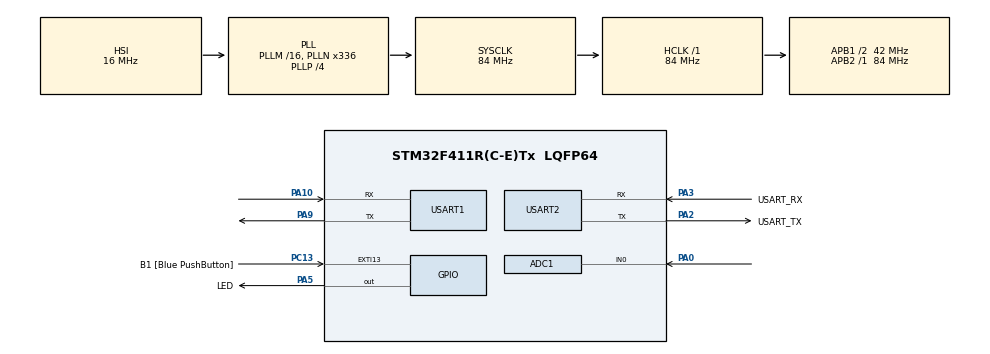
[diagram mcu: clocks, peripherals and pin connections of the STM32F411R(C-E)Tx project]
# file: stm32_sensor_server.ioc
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ADC1.Channel-0\#ChannelRegularConversion=ADC_CHANNEL_0
ADC1.NbrOfConversionFlag=1
ADC1.Rank-0\#ChannelRegularConversion=1
ADC1.SamplingTime-0\#ChannelRegularConversion=ADC_SAMPLETIME_3CYCLES
ADC1.master=1
Mcu.Family=STM32F4
Mcu.Name=STM32F411R(C-E)Tx
Mcu.Package=LQFP64
NVIC.PriorityGroup=NVIC_PRIORITYGROUP_0
NVIC.USART1_IRQn=true\:0\:0\:false\:false\:true\:true\:true\:true
PA0-WKUP.Signal=ADCx_IN0
PA10.Mode=Asynchronous
PA10.Signal=USART1_RX
PA13.GPIO_Label=TMS
PA13.Signal=SYS_JTMS-SWDIO
PA14.GPIO_Label=TCK
PA14.Signal=SYS_JTCK-SWCLK
PA2.GPIO_Label=USART_TX
PA2.Mode=Asynchronous
PA2.Signal=USART2_TX
PA3.GPIO_Label=USART_RX
PA3.Mode=Asynchronous
PA3.Signal=USART2_RX
PA5.GPIO_Label=LED
PA5.Signal=GPIO_Output
PA9.Mode=Asynchronous
PA9.Signal=USART1_TX
PB3.GPIO_Label=SWO
PB3.Signal=SYS_JTDO-SWO
PC13-ANTI_TAMP.GPIO_Label=B1 [Blue PushButton]
PC13-ANTI_TAMP.GPIO_ModeDefaultEXTI=GPIO_MODE_IT_FALLING
PC13-ANTI_TAMP.Signal=GPXTI13
PC14-OSC32_IN.Signal=RCC_OSC32_IN
PC15-OSC32_OUT.Signal=RCC_OSC32_OUT
PH0\ -\ OSC_IN.Signal=RCC_OSC_IN
PH1\ -\ OSC_OUT.Signal=RCC_OSC_OUT
ProjectManager.HeapSize=0x200
ProjectManager.StackSize=0x400
ProjectManager.TargetToolchain=STM32CubeIDE
RCC.48MHZClocksFreq_Value=84000000
RCC.AHBFreq_Value=84000000
RCC.APB1CLKDivider=RCC_HCLK_DIV2
RCC.APB1Freq_Value=42000000
RCC.APB1TimFreq_Value=84000000
RCC.APB2Freq_Value=84000000
RCC.APB2TimFreq_Value=84000000
RCC.CortexFreq_Value=84000000
RCC.FLatency-AdvancedSettings=FLASH_LATENCY_2
RCC.HCLKFreq_Value=84000000
RCC.HSE_VALUE=8000000
RCC.HSI_VALUE=16000000
RCC.LSE_VALUE=32768
RCC.PLLN=336
RCC.PLLP=RCC_PLLP_DIV4
RCC.SYSCLKFreq_VALUE=84000000
RCC.SYSCLKSource=RCC_SYSCLKSOURCE_PLLCLK
RCC.VCOOutputFreq_Value=336000000
SH.ADCx_IN0.0=ADC1_IN0,IN0
USART1.VirtualMode=VM_ASYNC
USART2.VirtualMode=VM_ASYNC
board=NUCLEO-F411RE

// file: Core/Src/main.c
/* USER CODE BEGIN Header */
/**
  ******************************************************************************
  * @file           : main.c
  * @brief          : Main program body
  ******************************************************************************
  */
/* USER CODE END Header */
#include "main.h"
#include "adc.h"
#include "usart.h"
#include "gpio.h"

/* USER CODE BEGIN Includes */
#include <string.h>
#include <stdio.h>
#include "secrets.h"
/* USER CODE END Includes */

/* USER CODE BEGIN PTD */
typedef enum {
  ST_INIT = 0,
  ST_NORMAL,
  ST_WARNING,
  ST_INTERLOCK,
  ST_COMM_ERROR
} SysState;
/* USER CODE END PTD */

/* USER CODE BEGIN PD */
#define WIFI_SSID        SECRET_WIFI_SSID
#define WIFI_PW          SECRET_WIFI_PW
#define SERVER_IP        SECRET_SERVER_IP
#define SERVER_PORT      "5000"

#define SEND_INTERVAL_MS 5000
#define ADC_SAMPLE_MS    200
#define FAIL_LIMIT       3

#define ADC_WARN_ON      2000   /* NORMAL    -> WARNING   */
#define ADC_WARN_OFF     1900   /* WARNING   -> NORMAL    */
#define ADC_INTER_ON     3000   /* WARNING   -> INTERLOCK */
#define ADC_INTER_OFF    2800   /* INTERLOCK -> WARNING   */
/* USER CODE END PD */

/* USER CODE BEGIN PV */
uint8_t esp_rx_data;
volatile uint8_t esp_ring[256];
volatile uint16_t rx_head = 0;
volatile uint16_t rx_tail = 0;

char esp_resp[512];
uint16_t esp_resp_len = 0;

char http_req[256];
char cmd_buf[64];

uint32_t led_tick  = 0;
uint32_t send_tick = 0;
uint32_t adc_tick  = 0;
uint8_t  fail_count = 0;

SysState level_state = ST_INIT;   /* ADC로 판정한 상태 */
SysState sys_state   = ST_INIT;   /* 최종 표시 상태 */
uint8_t  comm_error  = 0;
uint16_t last_adc    = 0;
/* USER CODE END PV */

void SystemClock_Config(void);
/* USER CODE BEGIN PFP */
void pc_log(const char *msg);
void esp_send(const char *msg);
int esp_cmd(const char *cmd, uint32_t timeout_ms);
int esp_wait_for(const char *token, uint32_t timeout_ms);
int esp_wait_keep(const char *token, uint32_t timeout_ms);
int esp_send_data(const char *data, uint32_t timeout_ms);
uint16_t adc_read(void);
const char *state_name(SysState s);
SysState next_level(SysState cur, uint16_t adc);
void refresh_state(void);
uint32_t led_period_ms(SysState s);
void wifi_connect(void);
int wifi_is_connected(void);
int open_tcp(void);
int send_sensor(uint16_t value, const char *state);
/* USER CODE END PFP */

/* USER CODE BEGIN 0 */
void pc_log(const char *msg)
{
  HAL_UART_Transmit(&huart2, (uint8_t *)msg, strlen(msg), HAL_MAX_DELAY);
}

void esp_send(const char *msg)
{
  HAL_UART_Transmit(&huart1, (uint8_t *)msg, strlen(msg), HAL_MAX_DELAY);
}

static void esp_drain(void)
{
  while (rx_tail != rx_head)
  {
    uint8_t c = esp_ring[rx_tail];
    rx_tail = (rx_tail + 1) % sizeof(esp_ring);
    HAL_UART_Transmit(&huart2, &c, 1, HAL_MAX_DELAY);

    if (esp_resp_len < sizeof(esp_resp) - 1)
    {
      esp_resp[esp_resp_len++] = (char)c;
      esp_resp[esp_resp_len] = '\0';
    }
  }
}

int esp_cmd(const char *cmd, uint32_t timeout_ms)
{
  esp_resp_len = 0;
  esp_resp[0] = '\0';
  rx_tail = rx_head;

  pc_log(">> ");
  pc_log(cmd);
  esp_send(cmd);

  uint32_t start = HAL_GetTick();
  while (HAL_GetTick() - start < timeout_ms)
  {
    esp_drain();

    if (strstr(esp_resp, "\r\nOK\r\n")) return 1;
    if (strstr(esp_resp, "ERROR") || strstr(esp_resp, "FAIL")) return 0;
  }
  return -1;
}

/* 버퍼를 지우지 않고 이어서 대기 (이미 도착한 응답을 놓치지 않기 위함) */
int esp_wait_keep(const char *token, uint32_t timeout_ms)
{
  uint32_t start = HAL_GetTick();
  while (HAL_GetTick() - start < timeout_ms)
  {
    esp_drain();

    if (strstr(esp_resp, token)) return 1;
    if (strstr(esp_resp, "ERROR") || strstr(esp_resp, "FAIL")) return 0;
  }
  return -1;
}

int esp_wait_for(const char *token, uint32_t timeout_ms)
{
  esp_resp_len = 0;
  esp_resp[0] = '\0';
  return esp_wait_keep(token, timeout_ms);
}

int esp_send_data(const char *data, uint32_t timeout_ms)
{
  rx_tail = rx_head;
  esp_resp_len = 0;
  esp_resp[0] = '\0';

  esp_send(data);
  return esp_wait_for("SEND OK", timeout_ms);
}

uint16_t adc_read(void)
{
  uint32_t v = 0;

  HAL_ADC_Start(&hadc1);
  if (HAL_ADC_PollForConversion(&hadc1, 100) == HAL_OK)
  {
    v = HAL_ADC_GetValue(&hadc1);
  }
  HAL_ADC_Stop(&hadc1);

  return (uint16_t)v;
}

const char *state_name(SysState s)
{
  switch (s)
  {
    case ST_INIT:       return "INIT";
    case ST_NORMAL:     return "NORMAL";
    case ST_WARNING:    return "WARNING";
    case ST_INTERLOCK:  return "INTERLOCK";
    case ST_COMM_ERROR: return "COMM_ERROR";
    default:            return "INIT";
  }
}

/* 히스테리시스를 적용한 상태 전이 */
SysState next_level(SysState cur, uint16_t adc)
{
  switch (cur)
  {
    case ST_INTERLOCK:
      if (adc >= ADC_INTER_OFF) return ST_INTERLOCK;
      return (adc >= ADC_WARN_ON) ? ST_WARNING : ST_NORMAL;

    case ST_WARNING:
      if (adc >= ADC_INTER_ON) return ST_INTERLOCK;
      if (adc <  ADC_WARN_OFF) return ST_NORMAL;
      return ST_WARNING;

    default:
      if (adc >= ADC_INTER_ON) return ST_INTERLOCK;
      if (adc >= ADC_WARN_ON)  return ST_WARNING;
      return ST_NORMAL;
  }
}

/* 상태가 바뀔 때만 로그 출력 */
void refresh_state(void)
{
  SysState next = comm_error ? ST_COMM_ERROR : level_state;

  if (next != sys_state)
  {
    char line[64];
    snprintf(line, sizeof(line), "\r\n[STATE] %s -> %s\r\n",
             state_name(sys_state), state_name(next));
    pc_log(line);
    sys_state = next;
  }
}

uint32_t led_period_ms(SysState s)
{
  switch (s)
  {
    case ST_NORMAL:     return 1000;
    case ST_WARNING:    return 400;
    case ST_INTERLOCK:  return 100;
    case ST_COMM_ERROR: return 2000;
    default:            return 1000;
  }
}

void wifi_connect(void)
{
  esp_cmd("AT\r\n", 1000);
  esp_cmd("AT+CWMODE=1\r\n", 2000);
  esp_cmd("AT+CWJAP_CUR=\"" WIFI_SSID "\",\"" WIFI_PW "\"\r\n", 30000);
  esp_cmd("AT+CIFSR\r\n", 2000);
  esp_cmd("AT+CIPMUX=0\r\n", 2000);
}

/* 응답에 SSID가 있으면 연결된 것으로 판단 (펌웨어별 응답 차이 대비) */
int wifi_is_connected(void)
{
  int r = esp_cmd("AT+CWJAP?\r\n", 3000);
  if (r != 1) return 0;
  if (strstr(esp_resp, "No AP")) return 0;
  return (strstr(esp_resp, WIFI_SSID) != NULL);
}

int open_tcp(void)
{
  const char *cmd = "AT+CIPSTART=\"TCP\",\"" SERVER_IP "\"," SERVER_PORT "\r\n";

  int r = esp_cmd(cmd, 5000);
  if (r == 1) return 1;

  /* 이전 연결이 남아 있으면 닫고 한 번 더 시도 */
  if (strstr(esp_resp, "ALREADY"))
  {
    esp_cmd("AT+CIPCLOSE\r\n", 2000);
    r = esp_cmd(cmd, 5000);
    return (r == 1);
  }

  return 0;
}

int send_sensor(uint16_t value, const char *state)
{
  int ok = 0;

  if (!open_tcp())
    return 0;

  snprintf(http_req, sizeof(http_req),
           "GET /data?value=%u&state=%s HTTP/1.1\r\n"
           "Host: " SERVER_IP ":" SERVER_PORT "\r\n"
           "Connection: close\r\n"
           "\r\n",
           (unsigned)value, state);

  snprintf(cmd_buf, sizeof(cmd_buf), "AT+CIPSEND=%d\r\n", (int)strlen(http_req));

  rx_tail = rx_head;
  pc_log(">> ");
  pc_log(cmd_buf);
  esp_send(cmd_buf);

  if (esp_wait_for(">", 3000) == 1 &&
      esp_send_data(http_req, 5000) == 1)
  {
    if (strstr(esp_resp, "200 OK"))
      ok = 1;
    else
      ok = (esp_wait_keep("200 OK", 5000) == 1);

    esp_wait_keep("CLOSED", 2000);
  }

  /* 실패하면 연결을 정리해서 다음 주기에 stale 상태가 남지 않게 함 */
  if (!ok)
    esp_cmd("AT+CIPCLOSE\r\n", 2000);

  return ok;
}
/* USER CODE END 0 */

int main(void)
{

  /* MCU Configuration--------------------------------------------------------*/

  HAL_Init();

  SystemClock_Config();

  MX_GPIO_Init();
  MX_USART2_UART_Init();
  MX_USART1_UART_Init();
  MX_ADC1_Init();
  /* USER CODE BEGIN 2 */
  HAL_UART_Receive_IT(&huart1, &esp_rx_data, 1);

  pc_log("BOOT OK\r\n");
  HAL_Delay(3000);

  wifi_connect();

  pc_log("\r\n=== READY ===\r\n");

  last_adc    = adc_read();
  level_state = next_level(ST_INIT, last_adc);
  refresh_state();

  adc_tick  = HAL_GetTick();
  led_tick  = HAL_GetTick();
  send_tick = HAL_GetTick() - SEND_INTERVAL_MS;   /* 부팅 직후 바로 1회 전송 */
  /* USER CODE END 2 */

  /* Infinite loop */
  while (1)
  {

    /* USER CODE BEGIN 3 */
    while (rx_tail != rx_head)
    {
      uint8_t c = esp_ring[rx_tail];
      rx_tail = (rx_tail + 1) % sizeof(esp_ring);
      HAL_UART_Transmit(&huart2, &c, 1, HAL_MAX_DELAY);
    }

    /* 1) 200ms마다 ADC 샘플링 + 상태 판정 */
    if (HAL_GetTick() - adc_tick >= ADC_SAMPLE_MS)
    {
      adc_tick = HAL_GetTick();

      last_adc    = adc_read();
      level_state = next_level(level_state, last_adc);
      refresh_state();
    }

    /* 2) 상태별 LED 점멸 */
    if (HAL_GetTick() - led_tick >= led_period_ms(sys_state))
    {
      HAL_GPIO_TogglePin(LED_GPIO_Port, LED_Pin);
      led_tick = HAL_GetTick();
    }

    /* 3) 5초마다 서버 전송 */
    if (HAL_GetTick() - send_tick >= SEND_INTERVAL_MS)
    {
      send_tick = HAL_GetTick();

      const char *state = state_name(level_state);

      char line[80];
      snprintf(line, sizeof(line), "\r\n[SENSOR] ADC=%u STATE=%s\r\n",
               (unsigned)last_adc, state);
      pc_log(line);

      if (send_sensor(last_adc, state))
      {
        fail_count = 0;
        comm_error = 0;
        pc_log("\r\n[HTTP] OK\r\n");
      }
      else
      {
        fail_count++;
        pc_log("\r\n[HTTP] FAIL\r\n");

        if (fail_count >= FAIL_LIMIT)
        {
          comm_error = 1;
          refresh_state();   /* 재접속 전에 COMM_ERROR를 먼저 표시 */

          if (!wifi_is_connected())
          {
            pc_log("\r\n[RECONNECT] WIFI\r\n");
            wifi_connect();
          }
          else
          {
            pc_log("\r\n[SERVER] DOWN (WIFI OK)\r\n");
          }
          fail_count = 0;
        }
      }

      refresh_state();
      send_tick = HAL_GetTick();
    }
  }
  /* USER CODE END 3 */
}

void SystemClock_Config(void)
{
  RCC_OscInitTypeDef RCC_OscInitStruct = {0};
  RCC_ClkInitTypeDef RCC_ClkInitStruct = {0};

  __HAL_RCC_PWR_CLK_ENABLE();
  __HAL_PWR_VOLTAGESCALING_CONFIG(PWR_REGULATOR_VOLTAGE_SCALE1);

  RCC_OscInitStruct.OscillatorType = RCC_OSCILLATORTYPE_HSI;
  RCC_OscInitStruct.HSIState = RCC_HSI_ON;
  RCC_OscInitStruct.HSICalibrationValue = RCC_HSICALIBRATION_DEFAULT;
  RCC_OscInitStruct.PLL.PLLState = RCC_PLL_ON;
  RCC_OscInitStruct.PLL.PLLSource = RCC_PLLSOURCE_HSI;
  RCC_OscInitStruct.PLL.PLLM = 16;
  RCC_OscInitStruct.PLL.PLLN = 336;
  RCC_OscInitStruct.PLL.PLLP = RCC_PLLP_DIV4;
  RCC_OscInitStruct.PLL.PLLQ = 4;
  if (HAL_RCC_OscConfig(&RCC_OscInitStruct) != HAL_OK)
  {
    Error_Handler();
  }

  RCC_ClkInitStruct.ClockType = RCC_CLOCKTYPE_HCLK|RCC_CLOCKTYPE_SYSCLK
                              |RCC_CLOCKTYPE_PCLK1|RCC_CLOCKTYPE_PCLK2;
  RCC_ClkInitStruct.SYSCLKSource = RCC_SYSCLKSOURCE_PLLCLK;
  RCC_ClkInitStruct.AHBCLKDivider = RCC_SYSCLK_DIV1;
  RCC_ClkInitStruct.APB1CLKDivider = RCC_HCLK_DIV2;
  RCC_ClkInitStruct.APB2CLKDivider = RCC_HCLK_DIV1;

  if (HAL_RCC_ClockConfig(&RCC_ClkInitStruct, FLASH_LATENCY_2) != HAL_OK)
  {
    Error_Handler();
  }
}

/* USER CODE BEGIN 4 */
void HAL_UART_RxCpltCallback(UART_HandleTypeDef *huart)
{
  if (huart->Instance == USART1)
  {
    esp_ring[rx_head] = esp_rx_data;
    rx_head = (rx_head + 1) % sizeof(esp_ring);
    HAL_UART_Receive_IT(&huart1, &esp_rx_data, 1);
  }
}

void HAL_UART_ErrorCallback(UART_HandleTypeDef *huart)
{
  if (huart->Instance == USART1)
  {
    __HAL_UART_CLEAR_OREFLAG(huart);
    HAL_UART_Receive_IT(&huart1, &esp_rx_data, 1);
  }
}
/* USER CODE END 4 */

void Error_Handler(void)
{
  __disable_irq();
  while (1)
  {
  }
}
